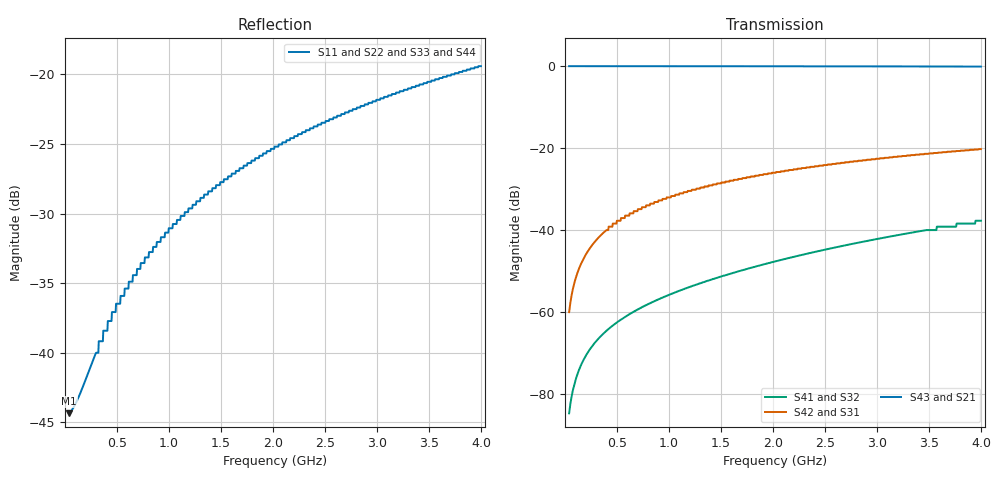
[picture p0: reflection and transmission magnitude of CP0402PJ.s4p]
!	AVX THIN FILM OPERATION
!	CP0402 HIGH DIRECTIVITY TIGHT TOLERANCE COUPLERS
!	P/N CP0402PxxxxJNTR
!	Network	Analyzer HP8720ES.07.64:Feb23,2000 Serial No.US39172382
!	Hewlett-Packard
!	23 January 2008
# MHZ S MA R 50
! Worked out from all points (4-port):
!   1001 points, 40 MHz to 4 GHz, reference 50 ohm
!   strongest paths, dB at 40 MHz, 1.03 GHz, 2.02 GHz, 3.01 GHz, 4 GHz:
!     S43: -0.1, -0.1, -0.1, -0.1, -0.1
!     S21: -0.1, -0.1, -0.1, -0.1, -0.1
!     S42: -60.0, -31.7, -26.0, -22.6, -20.3
!     S31: -60.0, -31.7, -26.0, -22.6, -20.3
!     S41: -84.7, -55.5, -47.6, -42.1, -37.7
!     S32: -84.7, -55.5, -47.6, -42.1, -37.7
!   lowest |S11| = -44.4 dB at 40 MHz (marker M1), VSWR 1.01, Z = 50.6 + j0.107 ohm
!   |S11| at or under -10 dB: start of sweep to end of sweep
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40  0.00606 10.1  0.994 -0.2  0.001 89.8  5.85e-05 89.8
    0.994 -0.2  0.00606 10.1  5.85e-05 89.8  0.001 89.8
    0.001 89.8  5.85e-05 89.8  0.00606 10.1  0.994 -0.2
    5.85e-05 89.8  0.001 89.8  0.994 -0.2  0.00606 10.1
135.04  0.00698 30.9  0.994 -0.5  0.00339 89.4  0.000198 92.0
        0.994 -0.5  0.00698 30.9  0.000198 92.0  0.00339 89.4
        0.00339 89.4  0.000198 92.0  0.00698 30.9  0.994 -0.5
        0.000198 92.0  0.00339 89.4  0.994 -0.5  0.00698 30.9
281.56  0.00964 50.8  0.994 -1.1  0.00706 88.9  0.000415 95.2
        0.994 -1.1  0.00964 50.8  0.000415 95.2  0.00706 88.9
        0.00706 88.9  0.000415 95.2  0.00964 50.8  0.994 -1.1
        0.000415 95.2  0.00706 88.9  0.994 -1.1  0.00964 50.8
519.16  0.015 65.0  0.994 -2.0  0.013 87.9  0.000781 100.3
        0.994 -2.0  0.015 65.0  0.000781 100.3  0.013 87.9
        0.013 87.9  0.000781 100.3  0.015 65.0  0.994 -2.0
        0.000781 100.3  0.013 87.9  0.994 -2.0  0.015 65.0
879.52  0.024 72.6  0.993 -3.5  0.022 86.5  0.0014 107.3
        0.993 -3.5  0.024 72.6  0.0014 107.3  0.022 86.5
        0.022 86.5  0.0014 107.3  0.024 72.6  0.993 -3.5
        0.0014 107.3  0.022 86.5  0.993 -3.5  0.024 72.6
2012.08  0.054 76.1  0.991 -7.9  0.05 82.2  0.00412 121.8
         0.991 -7.9  0.054 76.1  0.00412 121.8  0.05 82.2
         0.05 82.2  0.00412 121.8  0.054 76.1  0.991 -7.9
         0.00412 121.8  0.05 82.2  0.991 -7.9  0.054 76.1
4000  0.107 71.7  0.983 -15.7  0.097 74.7  0.013 127.8
      0.983 -15.7  0.107 71.7  0.013 127.8  0.097 74.7
      0.097 74.7  0.013 127.8  0.107 71.7  0.983 -15.7
      0.013 127.8  0.097 74.7  0.983 -15.7  0.107 71.7
